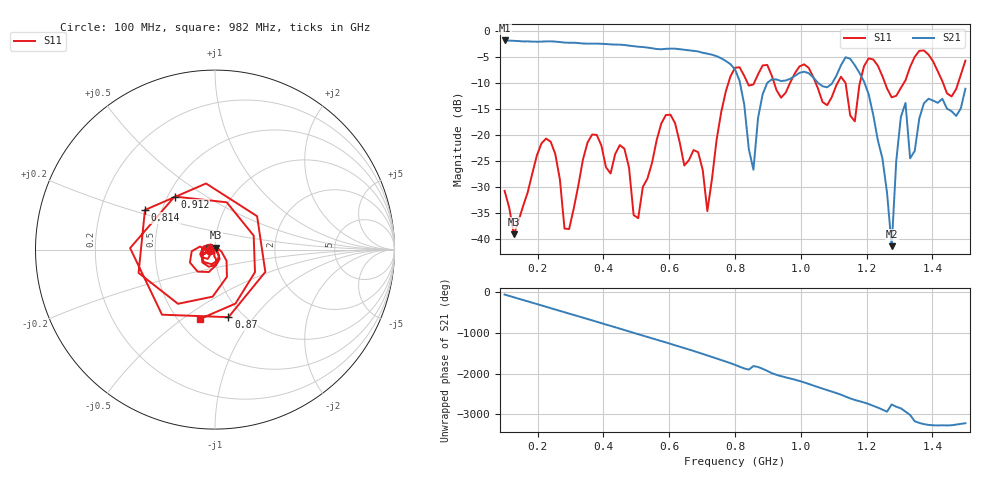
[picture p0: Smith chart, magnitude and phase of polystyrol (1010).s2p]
! NanoVNA-App
! Date: 2025-09-25 15:37:44
! Start: 100MHz Stop: 1,5GHz Points: 101
! S-Parameter data: F S11 S21 S12 S22
# Hz S RI R 50
!  Frequency  S11_Real  S11_Imag  S21_Real  S21_Imag  S12_Real  S12_Imag  S22_Real  S22_Imag
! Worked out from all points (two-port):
!   101 points, 100 MHz to 1.5 GHz, reference 50 ohm
!   highest |S21| = -1.80 dB at 100 MHz (marker M1); lowest = -41.3 dB at 1.276 GHz (marker M2)
!   |S21| within 3 dB of the highest: start of sweep to 742.8 MHz
!   lowest |S11| = -39.1 dB at 128 MHz (marker M3), VSWR 1.02, Z = 50.3 + j1.06 ohm
!   |S11| at or under -10 dB: start of sweep to 779.9 MHz; 1.045 GHz to 1.111 GHz (65.99 MHz wide, 6.12 % of centre); 1.256 GHz to 1.313 GHz (56.98 MHz wide, 4.44 % of centre) (the widest 3 of 7)
!   S12 and S22 are empty: the file has one direction only
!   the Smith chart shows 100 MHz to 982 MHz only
!   S11 on the Smith chart (normalised r, x): 100 MHz: 0.94, -0.01; 814 MHz: 0.40, +0.22; 870 MHz: 0.85, -0.76; 912 MHz: 0.54, +0.37; 982 MHz: 0.64, -0.58
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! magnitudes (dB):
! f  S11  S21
! 100 MHz  -30.7  -1.8
! 128 MHz  -39.1  -1.9
! 212 MHz  -21.6  -2.0
! 282 MHz  -38.0  -2.2
! 338 MHz  -24.7  -2.4
! 464 MHz  -22.6  -2.7
! 506 MHz  -36.0  -3.0
! 576 MHz  -17.8  -3.5
! 716 MHz  -34.6  -4.3
! 800 MHz  -7.0  -7.3
! 814 MHz  -7.0  -9.6
! 856 MHz  -10.3  -26.6
! 870 MHz  -8.3  -16.7
! 912 MHz  -8.6  -9.3
! 982 MHz  -8.1  -8.6
! 1.038 GHz  -8.9  -8.9
! 1.164 GHz  -17.4  -6.6
! 1.192 GHz  -6.7  -9.7
! 1.276 GHz  -12.7  -41.3
! 1.318 GHz  -9.5  -13.8
! 1.332 GHz  -6.9  -24.5
! 1.5 GHz  -5.7  -11.1
